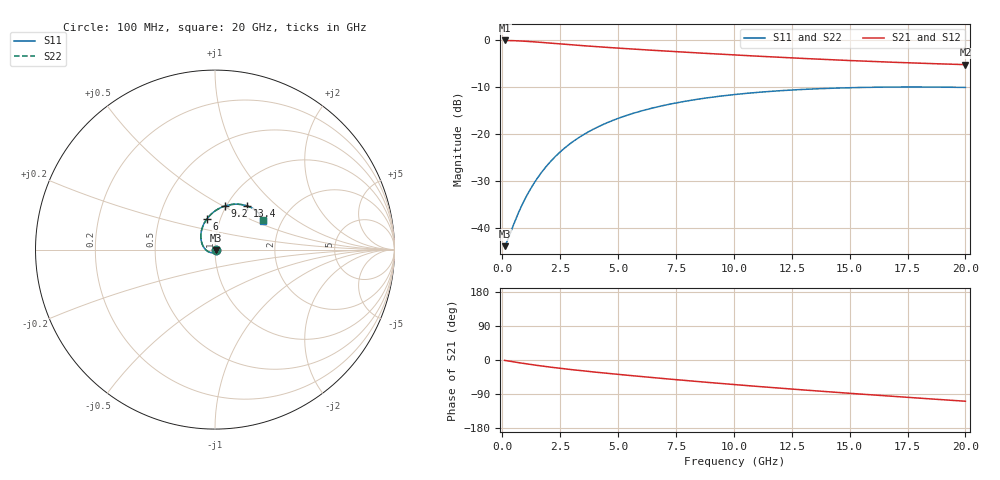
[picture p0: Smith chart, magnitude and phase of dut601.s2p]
! Touchstone file exported from HFSS 2024.1.0
!  File:  C:/UserFiles/LocalFiles/RDL_TSV_Batchsim/temp_RDL_TSV_601_1779797025.aedt
!  Generated:  08:16:39 PM May 26, 2026
!  Design:  RDL_TSV
!  Project:  temp_RDL_TSV_601_1779797025
!  Setup:  Setup1
!  Solution:  Sweep
! Variables:
!  dtsv = 8.65um
!  hbump = 3um
!  htsv = 64.71um
!  ldown = 326.72um
!  lrdl = 104.27um
!  p = 40
!  p1 = 47.9um
!  rhole = 10um
!  subl = 1397.24um
!  t = 450um
!  tdown = 3.78um
!  trdl = 4.37um
!  viad = 10um
!  wdown = 29.68um
!  wrdl = 17.69um
!  xbump = 18um
# GHz S MA R 50.000000
! Terminal data exported
! Port[1] = TM1_1_T1
! Port[2] = TM1_4_T1
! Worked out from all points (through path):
!   200 points, 100 MHz to 20 GHz, reference 50 ohm
!   highest |S21| = -0.06 dB at 100 MHz (marker M1); lowest = -5.2 dB at 20 GHz (marker M2)
!   group delay of S21, straight-line fit = 14.3 ps
!   lowest |S11| = -43.9 dB at 100 MHz (marker M3), VSWR 1.01, Z = 50.6 - j0.199 ohm
!   |S11| at or under -10 dB: start of sweep to 16.44 GHz; 19.01 GHz to end of sweep
!   |S22| runs from -43.9 to -10.0 dB; largest |S21 - S12| = 9.9e-15
!   S11 on the Smith chart (normalised r, x): 100 MHz: 1.01, -0.00; 6 GHz: 0.86, +0.30; 9.2 GHz: 0.99, +0.51; 13.4 GHz: 1.24, +0.66; 20 GHz: 1.61, +0.58
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0.1  0.006397 -17.9  0.9935 -1.0  0.9935 -1.0  0.006397 -17.9
! Gamma 0 0 0 0
! Port Impedance 50 0 50 0
0.2  0.007148 -35.5  0.9925 -2.1  0.9925 -2.1  0.007148 -35.5
0.6  0.01272 -90.0  0.9856 -6.0  0.9856 -6.0  0.01272 -90.0
0.9  0.01858 -116.8  0.9774 -8.8  0.9774 -8.8  0.01858 -116.8
1.2  0.02556 -137.2  0.9672 -11.6  0.9672 -11.6  0.02557 -137.2
1.6  0.03633 -158.5  0.9513 -15.0  0.9513 -15.0  0.03634 -158.5
2  0.04837 -175.4  0.9344 -18.2  0.9344 -18.2  0.04839 -175.4
2.5  0.06456 167.7  0.9131 -22.0  0.9131 -22.0  0.06458 167.7
3  0.08136 154.1  0.8926 -25.4  0.8926 -25.4  0.08139 154.1
3.5  0.09828 142.8  0.8735 -28.7  0.8735 -28.7  0.09832 142.8
4  0.115 133.1  0.8556 -31.9  0.8556 -31.9  0.115 133.1
4.6  0.1344 123.2  0.8358 -35.5  0.8358 -35.5  0.1345 123.2
5.3  0.156 113.4  0.8143 -39.6  0.8143 -39.6  0.1561 113.4
6  0.1762 105.0  0.7943 -43.6  0.7943 -43.6  0.1763 105.0
6.8  0.1975 96.6  0.7727 -48.1  0.7727 -48.1  0.1976 96.6
7.9  0.2236 86.7  0.745 -54.0  0.745 -54.0  0.2237 86.7
9.2  0.2497 76.9  0.7145 -60.7  0.7145 -60.7  0.2498 76.9
10.1  0.2648 71.0  0.6949 -65.3  0.6949 -65.3  0.265 71.0
11.7  0.2863 61.7  0.6626 -73.0  0.6626 -73.0  0.2865 61.7
13.4  0.3023 53.4  0.6323 -80.8  0.6323 -80.8  0.3025 53.4
16.7  0.3167 40.6  0.5842 -95.2  0.5842 -95.2  0.3169 40.6
20  0.3139 31.1  0.5492 -108.8  0.5492 -108.8  0.3142 31.1
